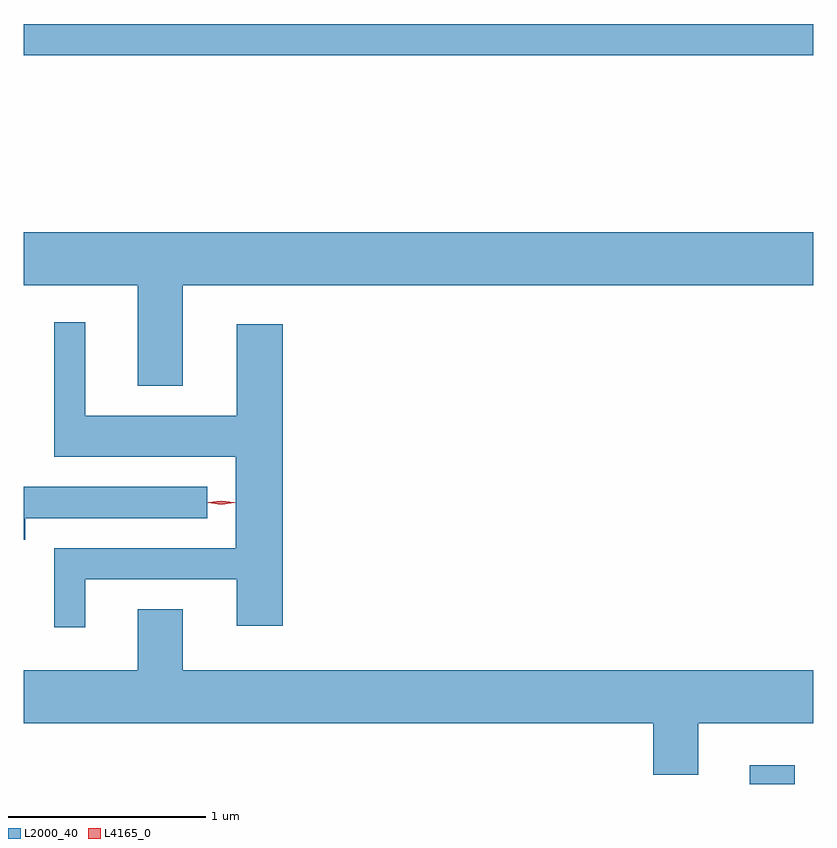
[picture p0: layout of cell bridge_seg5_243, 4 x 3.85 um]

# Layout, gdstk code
import gdstk
lib = gdstk.Library(unit=1e-6, precision=1e-09)
def R(c, l, rs):  # rectangles x0, y0, x1, y1
    for r in rs: c.add(gdstk.rectangle(r[:2], r[2:], *l))
def P(c, l, *ps):  # polygons
    for p in ps: c.add(gdstk.Polygon(p, *l))
L2000_40 = (2000, 40)
L4165_0 = (4165, 0)

bridge_seg5_243 = lib.new_cell('bridge_seg5_243')
R(bridge_seg5_243, L2000_40, [(1001.521,1476.469,1001.749,1476.564), (997.842,1480.161,1001.842,1480.319)])
P(bridge_seg5_243, L2000_40, [(998.649,1478.996),(1001.842,1478.996),(1001.842,1479.264),(997.842,1479.264),(997.842,1478.996),(998.421,1478.996),(998.421,1478.486),(998.649,1478.486)],
  [(998.154,1477.506),(998.921,1477.506),(998.921,1477.271),(999.154,1477.271),(999.154,1478.799),(998.921,1478.799),(998.921,1478.334),(998.154,1478.334),(998.154,1478.808),(997.996,1478.808),(997.996,1478.126),(998.916,1478.126),(998.916,1477.664),(997.996,1477.664),(997.996,1477.263),(998.154,1477.263)],
  [(997.849,1477.816),(998.773,1477.816),(998.773,1477.974),(997.842,1477.974),(997.842,1477.706),(997.849,1477.706)],
  [(1001.259,1476.776),(1001.842,1476.776),(1001.842,1477.044),(998.649,1477.044),(998.649,1477.354),(998.421,1477.354),(998.421,1477.044),(997.842,1477.044),(997.842,1476.776),(1001.031,1476.776),(1001.031,1476.516),(1001.259,1476.516)])
P(bridge_seg5_243, L4165_0, [(998.843,1477.883),(998.774,1477.893),(998.773,1477.893),(998.774,1477.894),(998.843,1477.903),(998.912,1477.894),(998.913,1477.893),(998.912,1477.893)],
  [(998.843,1477.885),(998.777,1477.894),(998.777,1477.895),(998.777,1477.896),(998.843,1477.905),(998.909,1477.896),(998.909,1477.895),(998.909,1477.894)])

lib.write_gds('bridge_seg5_243.gds')
